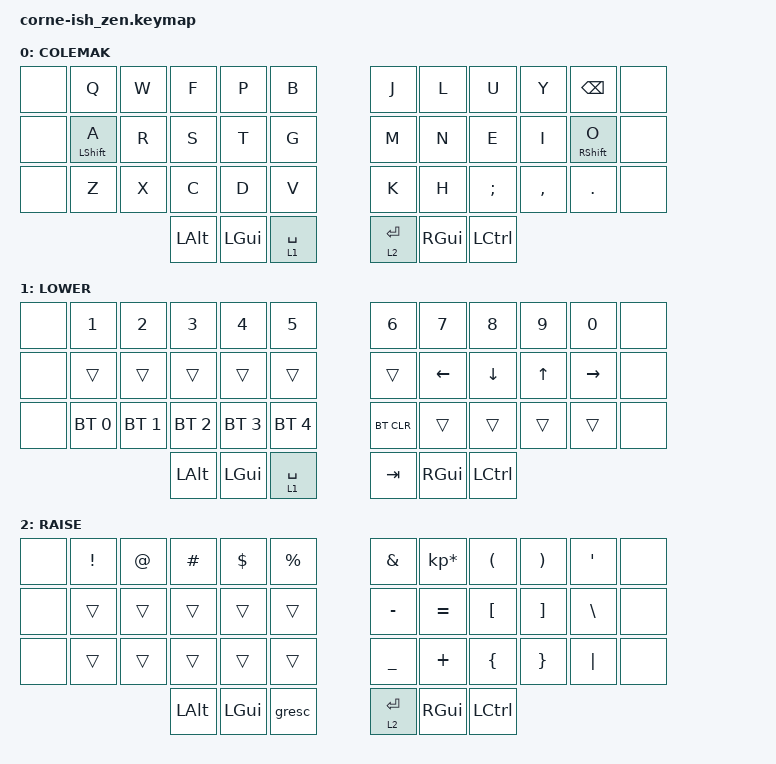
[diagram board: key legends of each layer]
/*
*
* Copyright (c) 2021 Darryl deHaan
* SPDX-License-Identifier: MIT
*
*/

#include <behaviors.dtsi>
#include <dt-bindings/zmk/keys.h>
#include <dt-bindings/zmk/bt.h>

/ {
        keymap {
                compatible = "zmk,keymap";

                default_layer {
                        label = "COLEMAK";
// -----------------------------------------------------------------------------------------
// |  TAB |  Q  |  W  |  E  |  R  |  T  |   |  Y  |  U   |  I  |  O  |  P  | BKSP |
// | CTRL |  A  |  S  |  D  |  F  |  G  |   |  H  |  J   |  K  |  L  |  ;  |  '   |
// | SHFT |  Z  |  X  |  C  |  V  |  B  |   |  N  |  M   |  ,  |  .  |  /  | ESC  |
//                    | GUI | LWR | SPC |   | ENT | RSE  | ALT |
                        bindings = <
   &none &kp Q        &kp W &kp F &kp P &kp B   &kp J &kp L  &kp U     &kp Y     &kp BSPC     &none
   &none &mt LSHIFT A &kp R &kp S &kp T &kp G   &kp M &kp N  &kp E     &kp I     &mt RSHIFT O &none
   &none &kp Z        &kp X &kp C &kp D &kp V   &kp K &kp H  &kp SEMI  &kp COMMA &kp DOT      &none
                &kp LALT &kp LGUI &lt 1 SPACE   &lt 2 RET &kp RGUI &kp LCTRL
                        >;
                };

                lower_layer {
                        label = "LOWER";
// -----------------------------------------------------------------------------------------
// |  TAB |  1  |  2  |  3  |  4  |  5  |   |  6  |  7  |  8  |  9  |  0  | BKSP |
// | BTCLR| BT1 | BT2 | BT3 | BT4 | BT5 |   | LFT | DWN |  UP | RGT |     |      |
// | SHFT |     |     |     |     |     |   |     |     |     |     |     |      |
//                    | GUI |     | SPC |   | ENT |     | ALT |
                        bindings = <
   &none    &kp N1       &kp N2       &kp N3       &kp N4       &kp N5         &kp N6   &kp N7   &kp N8 &kp N9    &kp N0 &none
   &none    &trans &trans &trans &trans &trans &trans &kp LEFT &kp DOWN &kp UP &kp RIGHT  &none
   &none    &bt BT_SEL 0 &bt BT_SEL 1 &bt BT_SEL 2 &bt BT_SEL 3 &bt BT_SEL 4  &bt BT_CLR   &trans   &trans &trans    &trans &none
                          	&kp LALT &kp LGUI &lt 1 SPACE   &kp TAB &kp RGUI &kp LCTRL
                        >;
                };

                raise_layer {
                        label = "RAISE";
// -----------------------------------------------------------------------------------------
// |  TAB |  !  |  @  |  #  |  $  |  %  |   |  ^  |  &  |  *  |  (  |  )  | BKSP |
// | CTRL |     |     |     |     |     |   |  -  |  =  |  [  |  ]  |  \  |  `   |
// | SHFT |     |     |     |     |     |   |  _  |  +  |  {  |  }  | "|" |  ~   |
//                    | GUI |     | SPC |   | ENT |     | ALT |
                        bindings = <
   &none  &kp EXCL &kp AT &kp HASH &kp DLLR &kp PRCNT   &kp AMPS  &kp KP_MULTIPLY &kp LPAR &kp RPAR &kp SQT &none
   &none  &trans   &trans &trans   &trans   &trans      &kp MINUS &kp EQUAL &kp LBKT        &kp RBKT &kp BSLH &none
   &none  &trans   &trans &trans   &trans   &trans      &kp UNDER &kp PLUS  &kp LBRC        &kp RBRC &kp PIPE &none
                    	     &kp LALT &kp LGUI &gresc   &lt 2 RET &kp RGUI &kp LCTRL
                        >;
                };
        };
};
